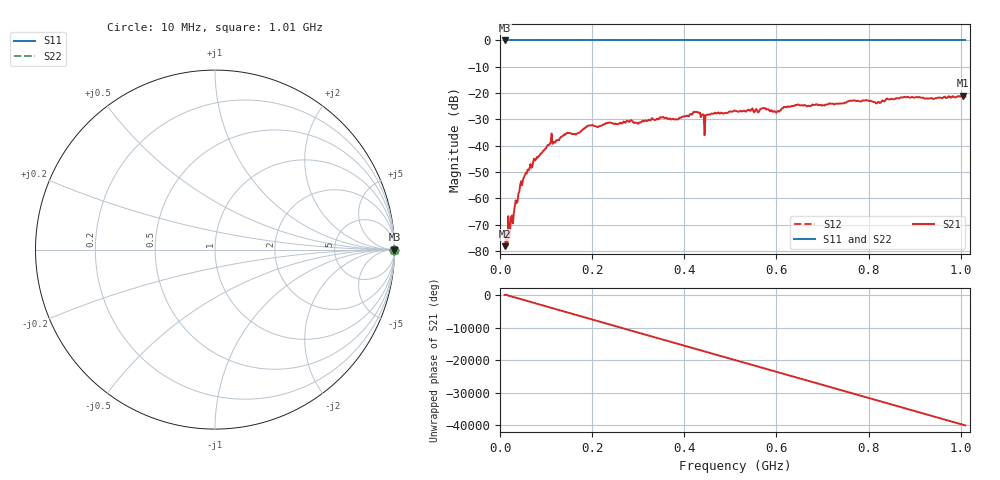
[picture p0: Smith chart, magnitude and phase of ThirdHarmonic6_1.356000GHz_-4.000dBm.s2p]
! 8/16/2025 3:17:06 PM
! C:\ANRITSUVNA\TEMP\TEMP.S2P
! CHANNEL.1
! TR.MEASUREMENT
! RAW.DATA
! RF.CORRECTION.OFF
! AVERAGING.OFF
! IF.BANDWIDTH: 5KHZ
! SWEEPTYPE:  FREQ.SWEEP(Linear)
! Reference Plane Port Info
! PORT:  PORT1  PORT2
! DISTANCE:  0  m  0  m
! TIME:  0  s  0  s
! PHASE.OFFSET:  0  deg.  0  deg.
! LOSS:  0  dB  0  dB
! REF.LOSS:  0  dB  0  dB
! REF.FREQ:  0  Hz  0  Hz
! Power Info
! POWER:  -20  dBm  -20  dBm
! EFF.POWER:  -20  dBm  -20  dBm
! SOURCE.ATTEN:  0  dB  0  dB
! TEST.ATTEN:  0  dB  0  dB
# GHZ S RI R 50.0
! FREQ.GHZ  S11RE  S11IM  S21RE  S21IM  S12RE  S12IM  S22RE  S22IM
!; PortSelection: Port_12
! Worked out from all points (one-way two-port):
!   501 points, 10 MHz to 1.01 GHz, reference 50 ohm
!   highest |S21| = -20.92 dB at 1.004 GHz (marker M1); lowest = -78.1 dB at 10 MHz (marker M2)
!   lowest |S11| = 0.0 dB at 10 MHz (marker M3)
!   |S11| at or under -10 dB: nowhere
!   |S22| runs from 0.0 to 0.0 dB; largest |S21 - S12| = 1.1
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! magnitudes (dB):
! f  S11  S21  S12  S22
! 10 MHz  0.0  -78.1  0.0  0.0
! 12 MHz  0.0  -76.4  0.0  0.0
! 22 MHz  0.0  -71.8  0.0  0.0
! 24 MHz  0.0  -67.0  0.0  0.0
! 48 MHz  0.0  -55.0  0.0  0.0
! 76 MHz  0.0  -45.6  0.0  0.0
! 108 MHz  0.0  -39.3  0.0  0.0
! 178 MHz  0.0  -34.1  0.0  0.0
! 194 MHz  0.0  -32.3  0.0  0.0
! 344 MHz  0.0  -29.9  0.0  0.0
! 384 MHz  0.0  -30.0  0.0  0.0
! 424 MHz  0.0  -27.2  0.0  0.0
! 448 MHz  0.0  -28.4  0.0  0.0
! 450 MHz  0.0  -28.1  0.0  0.0
! 510 MHz  0.0  -26.6  0.0  0.0
! 572 MHz  0.0  -25.6  0.0  0.0
! 602 MHz  0.0  -26.9  0.0  0.0
! 644 MHz  0.0  -24.5  0.0  0.0
! 678 MHz  0.0  -24.3  0.0  0.0
! 844 MHz  0.0  -22.4  0.0  0.0
! 1.004 GHz  0.0  -20.9  0.0  0.0
! 1.01 GHz  0.0  -21.4  0.0  0.0
